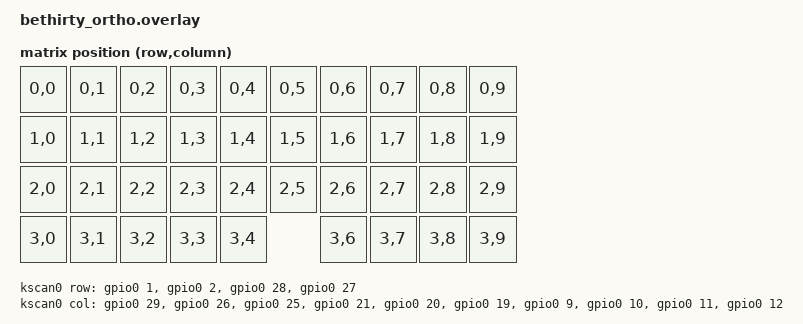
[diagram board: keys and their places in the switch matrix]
#include <dt-bindings/zmk/matrix_transform.h>

/ {
    chosen {
        zmk,kscan = &kscan0;
        zmk,matrix-transform = &default_transform;
        zmk,physical-layout = &default_layout;
    };

    kscan0: kscan {
        compatible = "zmk,kscan-gpio-matrix";
        diode-direction = "col2row";
        wakeup-source;

        col-gpios
            = <&gpio0 29 GPIO_ACTIVE_HIGH>
            , <&gpio0 26 GPIO_ACTIVE_HIGH>
            , <&gpio0 25 GPIO_ACTIVE_HIGH>
            , <&gpio0 21 GPIO_ACTIVE_HIGH>
            , <&gpio0 20 GPIO_ACTIVE_HIGH>
            , <&gpio0 19 GPIO_ACTIVE_HIGH>
            , <&gpio0 9 GPIO_ACTIVE_HIGH>
            , <&gpio0 10 GPIO_ACTIVE_HIGH>
            , <&gpio0 11 GPIO_ACTIVE_HIGH>
            , <&gpio0 12 GPIO_ACTIVE_HIGH>
            ;

        row-gpios
            = <&gpio0 1 (GPIO_ACTIVE_HIGH | GPIO_PULL_DOWN)>
            , <&gpio0 2 (GPIO_ACTIVE_HIGH | GPIO_PULL_DOWN)>
            , <&gpio0 28 (GPIO_ACTIVE_HIGH | GPIO_PULL_DOWN)>
            , <&gpio0 27 (GPIO_ACTIVE_HIGH | GPIO_PULL_DOWN)>
            ;
    };

    default_transform: keymap_transform_0 {
        compatible = "zmk,matrix-transform";
        columns = <10>;
        rows = <4>;

        map = <
            RC(0,0) RC(0,1) RC(0,2) RC(0,3) RC(0,4) RC(0,5) RC(0,6) RC(0,7) RC(0,8) RC(0,9)
            RC(1,0) RC(1,1) RC(1,2) RC(1,3) RC(1,4) RC(1,5) RC(1,6) RC(1,7) RC(1,8) RC(1,9)
            RC(2,0) RC(2,1) RC(2,2) RC(2,3) RC(2,4) RC(2,5) RC(2,6) RC(2,7) RC(2,8) RC(2,9)
            RC(3,0) RC(3,1) RC(3,2) RC(3,3) RC(3,4)         RC(3,6) RC(3,7) RC(3,8) RC(3,9)
        >;
    };

    default_layout: default_layout {
        compatible = "zmk,physical-layout";
        display-name = "Default";
        kscan = <&kscan0>;
        transform = <&default_transform>;
    };
};
